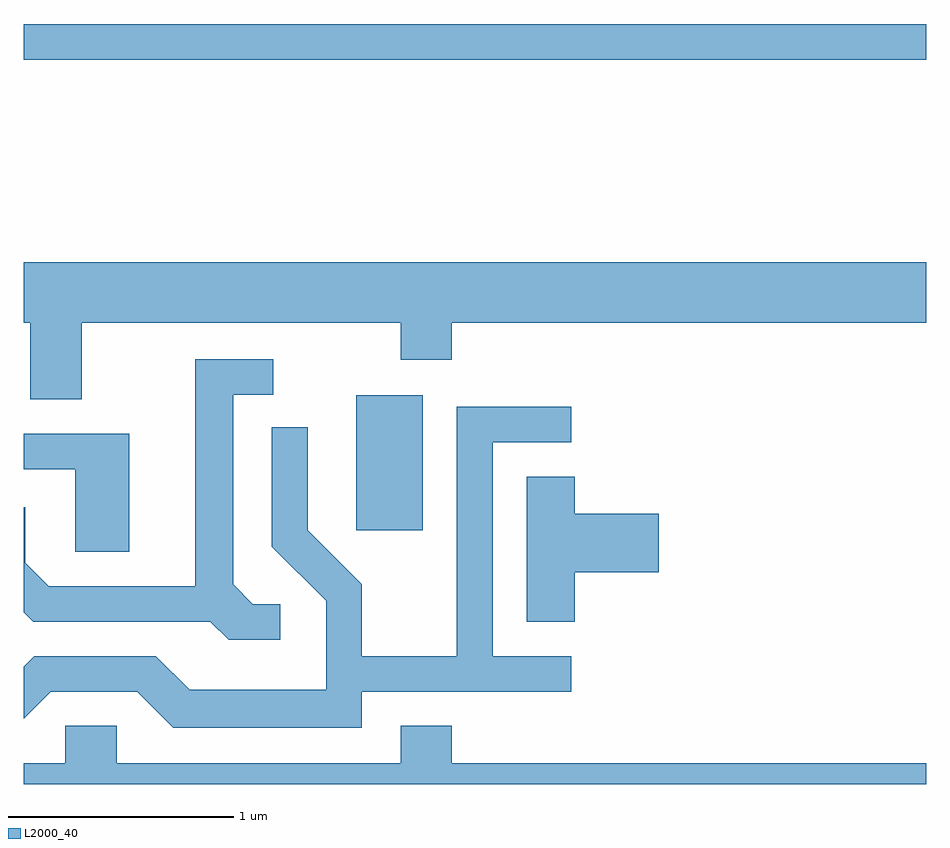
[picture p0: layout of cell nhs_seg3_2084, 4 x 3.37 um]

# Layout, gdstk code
import gdstk
lib = gdstk.Library(unit=1e-6, precision=1e-09)
def R(c, l, rs):  # rectangles x0, y0, x1, y1
    for r in rs: c.add(gdstk.rectangle(r[:2], r[2:], *l))
def P(c, l, *ps):  # polygons
    for p in ps: c.add(gdstk.Polygon(p, *l))
L2000_40 = (2000, 40)

nhs_seg3_2084 = lib.new_cell('nhs_seg3_2084')
R(nhs_seg3_2084, L2000_40, [(247.086,1205.016,247.379,1205.614), (245.611,1207.101,249.611,1207.259)])
P(nhs_seg3_2084, L2000_40, [(245.869,1205.936),(247.281,1205.936),(247.281,1205.771),(247.509,1205.771),(247.509,1205.936),(249.611,1205.936),(249.611,1206.204),(245.611,1206.204),(245.611,1205.936),(245.641,1205.936),(245.641,1205.596),(245.869,1205.596)],
  [(246.748,1204.689),(246.627,1204.689),(246.539,1204.777),(246.539,1205.616),(246.718,1205.616),(246.718,1205.774),(246.371,1205.774),(246.371,1204.769),(245.722,1204.769),(245.619,1204.872),(245.619,1205.118),(245.611,1205.118),(245.611,1204.654),(245.654,1204.611),(246.439,1204.611),(246.519,1204.531),(246.748,1204.531)],
  [(247.109,1204.301),(248.038,1204.301),(248.038,1204.459),(247.689,1204.459),(247.689,1205.406),(248.038,1205.406),(248.038,1205.564),(247.531,1205.564),(247.531,1204.459),(247.109,1204.459),(247.109,1204.777),(246.869,1205.017),(246.869,1205.473),(246.711,1205.473),(246.711,1204.944),(246.951,1204.704),(246.951,1204.309),(246.347,1204.309),(246.197,1204.459),(245.659,1204.459),(245.611,1204.411),(245.611,1204.18),(245.732,1204.301),(246.114,1204.301),(246.274,1204.141),(247.109,1204.141)],
  [(246.079,1205.444),(245.611,1205.444),(245.611,1205.286),(245.841,1205.286),(245.841,1204.921),(246.079,1204.921)],
  [(248.054,1204.831),(248.424,1204.831),(248.424,1205.089),(248.054,1205.089),(248.054,1205.254),(247.841,1205.254),(247.841,1204.611),(248.054,1204.611)],
  [(249.611,1203.984),(247.509,1203.984),(247.509,1204.149),(247.281,1204.149),(247.281,1203.984),(246.024,1203.984),(246.024,1204.149),(245.796,1204.149),(245.796,1203.984),(245.611,1203.984),(245.611,1203.892),(249.611,1203.892)])

lib.write_gds('nhs_seg3_2084.gds')
